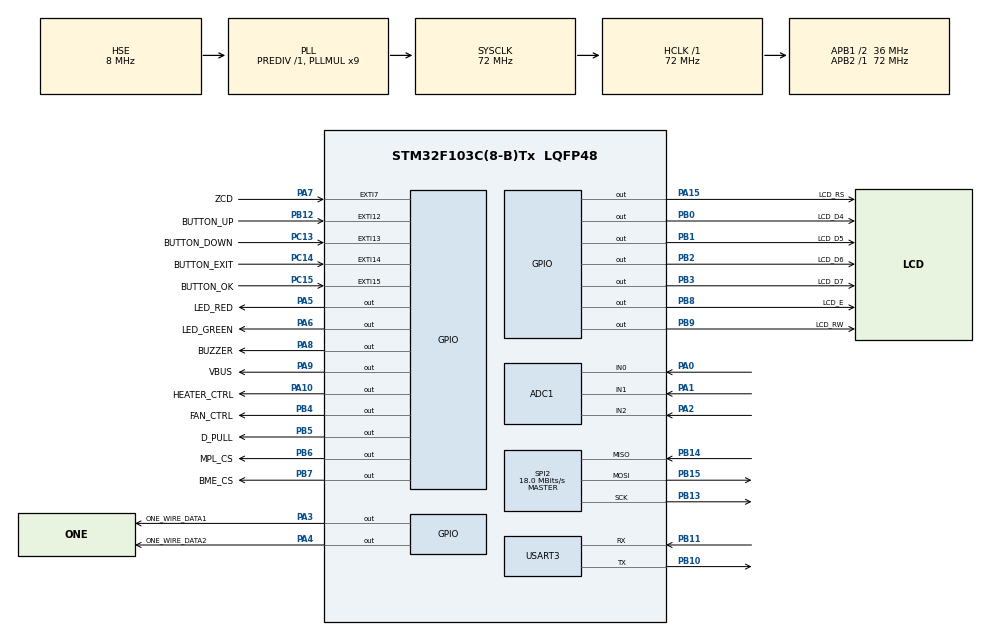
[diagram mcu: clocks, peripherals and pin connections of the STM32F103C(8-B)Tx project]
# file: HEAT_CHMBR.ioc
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ADC1.Channel-0\#ChannelRegularConversion=ADC_CHANNEL_0
ADC1.Channel-1\#ChannelRegularConversion=ADC_CHANNEL_1
ADC1.Channel-2\#ChannelRegularConversion=ADC_CHANNEL_2
ADC1.Channel-3\#ChannelRegularConversion=ADC_CHANNEL_TEMPSENSOR
ADC1.ContinuousConvMode=ENABLE
ADC1.DataAlign=ADC_DATAALIGN_RIGHT
ADC1.NbrOfConversion=4
ADC1.NbrOfConversionFlag=1
ADC1.Rank-0\#ChannelRegularConversion=1
ADC1.Rank-1\#ChannelRegularConversion=2
ADC1.Rank-2\#ChannelRegularConversion=3
ADC1.Rank-3\#ChannelRegularConversion=4
ADC1.SamplingTime-0\#ChannelRegularConversion=ADC_SAMPLETIME_239CYCLES_5
ADC1.SamplingTime-1\#ChannelRegularConversion=ADC_SAMPLETIME_239CYCLES_5
ADC1.SamplingTime-2\#ChannelRegularConversion=ADC_SAMPLETIME_239CYCLES_5
ADC1.SamplingTime-3\#ChannelRegularConversion=ADC_SAMPLETIME_239CYCLES_5
ADC1.master=1
Mcu.Family=STM32F1
Mcu.Name=STM32F103C(8-B)Tx
Mcu.Package=LQFP48
NVIC.ADC1_2_IRQn=true\:0\:0\:false\:false\:true\:true\:true
NVIC.EXTI15_10_IRQn=true\:0\:0\:false\:false\:true\:true\:true
NVIC.EXTI9_5_IRQn=true\:0\:0\:false\:false\:true\:true\:true
NVIC.PriorityGroup=NVIC_PRIORITYGROUP_4
NVIC.TIM1_CC_IRQn=true\:0\:0\:false\:false\:true\:true\:true
NVIC.TIM1_UP_IRQn=true\:0\:0\:false\:false\:true\:true\:true
NVIC.USART3_IRQn=true\:0\:0\:false\:false\:true\:true\:true
PA0-WKUP.Signal=ADCx_IN0
PA1.Signal=ADCx_IN1
PA10.GPIO_Label=HEATER_CTRL
PA10.Signal=GPIO_Output
PA13.Mode=Serial_Wire
PA13.Signal=SYS_JTMS-SWDIO
PA14.Mode=Serial_Wire
PA14.Signal=SYS_JTCK-SWCLK
PA15.GPIO_Label=LCD_RS
PA15.Signal=GPIO_Output
PA2.Signal=ADCx_IN2
PA3.GPIO_Label=ONE_WIRE_DATA1
PA3.Signal=GPIO_Output
PA4.GPIO_Label=ONE_WIRE_DATA2
PA4.Signal=GPIO_Output
PA5.GPIO_Label=LED_RED
PA5.Signal=GPIO_Output
PA6.GPIO_Label=LED_GREEN
PA6.Signal=GPIO_Output
PA7.GPIO_Label=ZCD
PA7.GPIO_ModeDefaultEXTI=GPIO_MODE_IT_RISING_FALLING
PA7.Signal=GPXTI7
PA8.GPIO_Label=BUZZER
PA8.Signal=GPIO_Output
PA9.GPIO_Label=VBUS
PA9.Signal=GPIO_Output
PB0.GPIO_Label=LCD_D4
PB0.Signal=GPIO_Output
PB1.GPIO_Label=LCD_D5
PB1.Signal=GPIO_Output
PB10.Mode=Asynchronous
PB10.Signal=USART3_TX
PB11.Mode=Asynchronous
PB11.Signal=USART3_RX
PB12.GPIO_Label=BUTTON_UP
PB12.GPIO_ModeDefaultEXTI=GPIO_MODE_IT_FALLING
PB12.Signal=GPXTI12
PB13.Mode=Full_Duplex_Master
PB13.Signal=SPI2_SCK
PB14.Mode=Full_Duplex_Master
PB14.Signal=SPI2_MISO
PB15.Mode=Full_Duplex_Master
PB15.Signal=SPI2_MOSI
PB2.GPIO_Label=LCD_D6
PB2.Signal=GPIO_Output
PB3.GPIO_Label=LCD_D7
PB3.Signal=GPIO_Output
PB4.GPIO_Label=FAN_CTRL
PB4.Signal=GPIO_Output
PB5.GPIO_Label=D_PULL
PB5.Signal=GPIO_Output
PB6.GPIO_Label=MPL_CS
PB6.Signal=GPIO_Output
PB7.GPIO_Label=BME_CS
PB7.Signal=GPIO_Output
PB8.GPIO_Label=LCD_E
PB8.Signal=GPIO_Output
PB9.GPIO_Label=LCD_RW
PB9.Signal=GPIO_Output
PC13-TAMPER-RTC.GPIO_Label=BUTTON_DOWN
PC13-TAMPER-RTC.GPIO_ModeDefaultEXTI=GPIO_MODE_IT_FALLING
PC13-TAMPER-RTC.Signal=GPXTI13
PC14-OSC32_IN.GPIO_Label=BUTTON_EXIT
PC14-OSC32_IN.GPIO_ModeDefaultEXTI=GPIO_MODE_IT_FALLING
PC14-OSC32_IN.Signal=GPXTI14
PC15-OSC32_OUT.GPIO_Label=BUTTON_OK
PC15-OSC32_OUT.GPIO_ModeDefaultEXTI=GPIO_MODE_IT_FALLING
PC15-OSC32_OUT.Signal=GPXTI15
PD0-OSC_IN.Mode=HSE-External-Oscillator
PD0-OSC_IN.Signal=RCC_OSC_IN
PD1-OSC_OUT.Mode=HSE-External-Oscillator
PD1-OSC_OUT.Signal=RCC_OSC_OUT
ProjectManager.HeapSize=0x800
ProjectManager.StackSize=0x800
ProjectManager.TargetToolchain=STM32CubeIDE
RCC.ADCPresc=RCC_ADCPCLK2_DIV6
RCC.AHBFreq_Value=72000000
RCC.APB1CLKDivider=RCC_HCLK_DIV2
RCC.APB1Freq_Value=36000000
RCC.APB1TimFreq_Value=72000000
RCC.APB2Freq_Value=72000000
RCC.APB2TimFreq_Value=72000000
RCC.HCLKFreq_Value=72000000
RCC.PLLMUL=RCC_PLL_MUL9
RCC.PLLSourceVirtual=RCC_PLLSOURCE_HSE
RCC.SYSCLKFreq_VALUE=72000000
RCC.SYSCLKSource=RCC_SYSCLKSOURCE_PLLCLK
RCC.USBFreq_Value=72000000
SH.ADCx_IN0.0=ADC1_IN0,IN0
SH.ADCx_IN1.0=ADC1_IN1,IN1
SH.ADCx_IN2.0=ADC1_IN2,IN2
SPI2.CalculateBaudRate=18.0 MBits/s
SPI2.Direction=SPI_DIRECTION_2LINES
SPI2.Mode=SPI_MODE_MASTER
SPI2.VirtualType=VM_MASTER
TIM1.Channel-Output\ Compare1\ No\ Output=TIM_CHANNEL_1
TIM1.Period=9800
TIM1.Prescaler=71
USART3.VirtualMode=VM_ASYNC
VP_ADC1_TempSens_Input.Mode=IN-TempSens
VP_TIM1_VS_ClockSourceINT.Mode=Internal
VP_TIM1_VS_OPM.Mode=OPM_bit
VP_TIM1_VS_no_output1.Mode=Output Compare1 No Output
board=custom

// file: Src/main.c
/* USER CODE BEGIN Header */
/**
  ******************************************************************************
  * @file           : main.c
  * @brief          : Main program body
  ******************************************************************************
  * @attention
  *
  * <h2><center>&copy; Copyright (c) 2020 STMicroelectronics.
  * All rights reserved.</center></h2>
  *
  * This software component is licensed by ST under BSD 3-Clause license,
  * the "License"; You may not use this file except in compliance with the
  * License. You may obtain a copy of the License at:
  *                        opensource.org/licenses/BSD-3-Clause
  *
  ******************************************************************************
  */
/* USER CODE END Header */

#include "main.h"

ADC_HandleTypeDef hadc1;

SPI_HandleTypeDef hspi2;

TIM_HandleTypeDef htim1;

UART_HandleTypeDef huart3;

void SystemClock_Config(void);
static void MX_GPIO_Init(void);
static void MX_ADC1_Init(void);
static void MX_SPI2_Init(void);
static void MX_TIM1_Init(void);
static void MX_USART3_UART_Init(void);

/* USER CODE BEGIN 0 */
uint16_t VirtAddVarTab[] = {23,1234,123};
/* USER CODE END 0 */

int main(void)
{

  /* MCU Configuration--------------------------------------------------------*/

  /* Reset of all peripherals, Initializes the Flash interface and the Systick. */

	HAL_Init();

  /* Configure the system clock */
  SystemClock_Config();

  /* Initialize all configured peripherals */
  MX_GPIO_Init();
  MX_ADC1_Init();
  MX_SPI2_Init();
  MX_TIM1_Init();
  MX_USART3_UART_Init();
  /* USER CODE BEGIN 2 */
  LCD_Initalize();
  ds18b20_initalize(0);
  ntc_init();
  rom_value_init();
  ui_refresh_memory_data();
  ui_populate_with_rom_data();
  tc_init();
  __HAL_TIM_ENABLE_IT(&htim1, TIM_IT_CC1| TIM_IT_CC2);

  //PID_manual_settings();
  //pwmctrl_enable_timer_irq();

  LED_GREEN_GPIO_Port->BSRR = LED_GREEN_Pin;

  /* USER CODE END 2 */

  /* Infinite loop */
  while (1)
  {

    /* USER CODE BEGIN 3 */
	  lcd_circle_bufer_refresh();
	  ui_handler();
	  tc_down_counter();
	  ds18b20_convert_temperature(10);  //duration 5ms [10 - 15]ms read in  10 + 750 ms  = 95ms
	  ds18b20_read_primary_sensor(770); //duration 5ms [835 - 940]ms read in  10 + 750ms  = 95ms
	  ntc_handler(100);

	 // ds18b20_get_scratchpad_temperature(175,0,0);
	  //ds18b20_get_scratchpad_temperature(200,0,1);
  }
  /* USER CODE END 3 */
}

void SystemClock_Config(void)
{
  RCC_OscInitTypeDef RCC_OscInitStruct = {0};
  RCC_ClkInitTypeDef RCC_ClkInitStruct = {0};
  RCC_PeriphCLKInitTypeDef PeriphClkInit = {0};

  /** Initializes the CPU, AHB and APB busses clocks
  */
  RCC_OscInitStruct.OscillatorType = RCC_OSCILLATORTYPE_HSE;
  RCC_OscInitStruct.HSEState = RCC_HSE_ON;
  RCC_OscInitStruct.HSEPredivValue = RCC_HSE_PREDIV_DIV1;
  RCC_OscInitStruct.HSIState = RCC_HSI_ON;
  RCC_OscInitStruct.PLL.PLLState = RCC_PLL_ON;
  RCC_OscInitStruct.PLL.PLLSource = RCC_PLLSOURCE_HSE;
  RCC_OscInitStruct.PLL.PLLMUL = RCC_PLL_MUL9;
  if (HAL_RCC_OscConfig(&RCC_OscInitStruct) != HAL_OK)
  {
    Error_Handler();
  }
  /** Initializes the CPU, AHB and APB busses clocks
  */
  RCC_ClkInitStruct.ClockType = RCC_CLOCKTYPE_HCLK|RCC_CLOCKTYPE_SYSCLK
                              |RCC_CLOCKTYPE_PCLK1|RCC_CLOCKTYPE_PCLK2;
  RCC_ClkInitStruct.SYSCLKSource = RCC_SYSCLKSOURCE_PLLCLK;
  RCC_ClkInitStruct.AHBCLKDivider = RCC_SYSCLK_DIV1;
  RCC_ClkInitStruct.APB1CLKDivider = RCC_HCLK_DIV2;
  RCC_ClkInitStruct.APB2CLKDivider = RCC_HCLK_DIV1;

  if (HAL_RCC_ClockConfig(&RCC_ClkInitStruct, FLASH_LATENCY_2) != HAL_OK)
  {
    Error_Handler();
  }
  PeriphClkInit.PeriphClockSelection = RCC_PERIPHCLK_ADC;
  PeriphClkInit.AdcClockSelection = RCC_ADCPCLK2_DIV6;
  if (HAL_RCCEx_PeriphCLKConfig(&PeriphClkInit) != HAL_OK)
  {
    Error_Handler();
  }
}

static void MX_ADC1_Init(void)
{

  ADC_ChannelConfTypeDef sConfig = {0};

  /** Common config
  */
  hadc1.Instance = ADC1;
  hadc1.Init.ScanConvMode = ADC_SCAN_ENABLE;
  hadc1.Init.ContinuousConvMode = ENABLE;
  hadc1.Init.DiscontinuousConvMode = DISABLE;
  hadc1.Init.ExternalTrigConv = ADC_SOFTWARE_START;
  hadc1.Init.DataAlign = ADC_DATAALIGN_RIGHT;
  hadc1.Init.NbrOfConversion = 4;
  if (HAL_ADC_Init(&hadc1) != HAL_OK)
  {
    Error_Handler();
  }
  /** Configure Regular Channel
  */
  sConfig.Channel = ADC_CHANNEL_0;
  sConfig.Rank = ADC_REGULAR_RANK_1;
  sConfig.SamplingTime = ADC_SAMPLETIME_239CYCLES_5;
  if (HAL_ADC_ConfigChannel(&hadc1, &sConfig) != HAL_OK)
  {
    Error_Handler();
  }
  /** Configure Regular Channel
  */
  sConfig.Channel = ADC_CHANNEL_1;
  sConfig.Rank = ADC_REGULAR_RANK_2;
  if (HAL_ADC_ConfigChannel(&hadc1, &sConfig) != HAL_OK)
  {
    Error_Handler();
  }
  /** Configure Regular Channel
  */
  sConfig.Channel = ADC_CHANNEL_2;
  sConfig.Rank = ADC_REGULAR_RANK_3;
  if (HAL_ADC_ConfigChannel(&hadc1, &sConfig) != HAL_OK)
  {
    Error_Handler();
  }
  /** Configure Regular Channel
  */
  sConfig.Channel = ADC_CHANNEL_TEMPSENSOR;
  sConfig.Rank = ADC_REGULAR_RANK_4;
  if (HAL_ADC_ConfigChannel(&hadc1, &sConfig) != HAL_OK)
  {
    Error_Handler();
  }
  /* USER CODE BEGIN ADC1_Init 2 */
  __HAL_RCC_DMA1_CLK_ENABLE();

  hdma1.Instance = DMA1_Channel1;
  hdma1.Init.Direction = DMA_PERIPH_TO_MEMORY;
  hdma1.Init.PeriphInc = DMA_PINC_DISABLE;
  hdma1.Init.MemInc = DMA_MINC_ENABLE;
  hdma1.Init.PeriphDataAlignment = DMA_PDATAALIGN_HALFWORD;
  hdma1.Init.MemDataAlignment = DMA_MDATAALIGN_HALFWORD;
  hdma1.Init.Mode = DMA_CIRCULAR;
  hdma1.Init.Priority = DMA_PRIORITY_HIGH;

  HAL_ADCEx_Calibration_Start(&hadc1);
  HAL_DMA_Init(&hdma1);
  __HAL_LINKDMA(&hadc1, DMA_Handle, hdma1);

  HAL_ADC_Start_DMA(&hadc1, (uint32_t*)adc_value, ADC_CHANNELS);

  /* USER CODE END ADC1_Init 2 */

}

static void MX_SPI2_Init(void)
{

  /* SPI2 parameter configuration*/
  hspi2.Instance = SPI2;
  hspi2.Init.Mode = SPI_MODE_MASTER;
  hspi2.Init.Direction = SPI_DIRECTION_2LINES;
  hspi2.Init.DataSize = SPI_DATASIZE_8BIT;
  hspi2.Init.CLKPolarity = SPI_POLARITY_LOW;
  hspi2.Init.CLKPhase = SPI_PHASE_1EDGE;
  hspi2.Init.NSS = SPI_NSS_SOFT;
  hspi2.Init.BaudRatePrescaler = SPI_BAUDRATEPRESCALER_2;
  hspi2.Init.FirstBit = SPI_FIRSTBIT_MSB;
  hspi2.Init.TIMode = SPI_TIMODE_DISABLE;
  hspi2.Init.CRCCalculation = SPI_CRCCALCULATION_DISABLE;
  hspi2.Init.CRCPolynomial = 10;
  if (HAL_SPI_Init(&hspi2) != HAL_OK)
  {
    Error_Handler();
  }

}

static void MX_TIM1_Init(void)
{

  TIM_ClockConfigTypeDef sClockSourceConfig = {0};
  TIM_MasterConfigTypeDef sMasterConfig = {0};
  TIM_OC_InitTypeDef sConfigOC = {0};
  TIM_BreakDeadTimeConfigTypeDef sBreakDeadTimeConfig = {0};

  htim1.Instance = TIM1;
  htim1.Init.Prescaler = 71;
  htim1.Init.CounterMode = TIM_COUNTERMODE_UP;
  htim1.Init.Period = 9800;
  htim1.Init.ClockDivision = TIM_CLOCKDIVISION_DIV1;
  htim1.Init.RepetitionCounter = 0;
  htim1.Init.AutoReloadPreload = TIM_AUTORELOAD_PRELOAD_DISABLE;
  if (HAL_TIM_Base_Init(&htim1) != HAL_OK)
  {
    Error_Handler();
  }
  sClockSourceConfig.ClockSource = TIM_CLOCKSOURCE_INTERNAL;
  if (HAL_TIM_ConfigClockSource(&htim1, &sClockSourceConfig) != HAL_OK)
  {
    Error_Handler();
  }
  if (HAL_TIM_OC_Init(&htim1) != HAL_OK)
  {
    Error_Handler();
  }
  if (HAL_TIM_OnePulse_Init(&htim1, TIM_OPMODE_SINGLE) != HAL_OK)
  {
    Error_Handler();
  }
  sMasterConfig.MasterOutputTrigger = TIM_TRGO_RESET;
  sMasterConfig.MasterSlaveMode = TIM_MASTERSLAVEMODE_DISABLE;
  if (HAL_TIMEx_MasterConfigSynchronization(&htim1, &sMasterConfig) != HAL_OK)
  {
    Error_Handler();
  }
  sConfigOC.OCMode = TIM_OCMODE_TIMING;
  sConfigOC.Pulse = 0;
  sConfigOC.OCPolarity = TIM_OCPOLARITY_HIGH;
  sConfigOC.OCNPolarity = TIM_OCNPOLARITY_HIGH;
  sConfigOC.OCFastMode = TIM_OCFAST_DISABLE;
  sConfigOC.OCIdleState = TIM_OCIDLESTATE_RESET;
  sConfigOC.OCNIdleState = TIM_OCNIDLESTATE_RESET;
  if (HAL_TIM_OC_ConfigChannel(&htim1, &sConfigOC, TIM_CHANNEL_1) != HAL_OK)
  {
    Error_Handler();
  }
  sBreakDeadTimeConfig.OffStateRunMode = TIM_OSSR_DISABLE;
  sBreakDeadTimeConfig.OffStateIDLEMode = TIM_OSSI_DISABLE;
  sBreakDeadTimeConfig.LockLevel = TIM_LOCKLEVEL_OFF;
  sBreakDeadTimeConfig.DeadTime = 0;
  sBreakDeadTimeConfig.BreakState = TIM_BREAK_DISABLE;
  sBreakDeadTimeConfig.BreakPolarity = TIM_BREAKPOLARITY_HIGH;
  sBreakDeadTimeConfig.AutomaticOutput = TIM_AUTOMATICOUTPUT_DISABLE;
  if (HAL_TIMEx_ConfigBreakDeadTime(&htim1, &sBreakDeadTimeConfig) != HAL_OK)
  {
    Error_Handler();
  }
  /* USER CODE BEGIN TIM1_Init 2 */
  if (HAL_TIM_OC_ConfigChannel(&htim1, &sConfigOC, TIM_CHANNEL_2) != HAL_OK)
  {
      Error_Handler();
  }
  /* USER CODE END TIM1_Init 2 */

}

static void MX_USART3_UART_Init(void)
{

  huart3.Instance = USART3;
  huart3.Init.BaudRate = 115200;
  huart3.Init.WordLength = UART_WORDLENGTH_8B;
  huart3.Init.StopBits = UART_STOPBITS_1;
  huart3.Init.Parity = UART_PARITY_NONE;
  huart3.Init.Mode = UART_MODE_TX_RX;
  huart3.Init.HwFlowCtl = UART_HWCONTROL_NONE;
  huart3.Init.OverSampling = UART_OVERSAMPLING_16;
  if (HAL_UART_Init(&huart3) != HAL_OK)
  {
    Error_Handler();
  }

}

static void MX_GPIO_Init(void)
{
  GPIO_InitTypeDef GPIO_InitStruct = {0};

  /* GPIO Ports Clock Enable */
  __HAL_RCC_GPIOC_CLK_ENABLE();
  __HAL_RCC_GPIOD_CLK_ENABLE();
  __HAL_RCC_GPIOA_CLK_ENABLE();
  __HAL_RCC_GPIOB_CLK_ENABLE();

  /*Configure GPIO pin Output Level */
  HAL_GPIO_WritePin(GPIOA, ONE_WIRE_DATA1_Pin|ONE_WIRE_DATA2_Pin|LED_RED_Pin|LED_GREEN_Pin
                          |BUZZER_Pin|VBUS_Pin|HEATER_CTRL_Pin|LCD_RS_Pin, GPIO_PIN_RESET);

  /*Configure GPIO pin Output Level */
  HAL_GPIO_WritePin(GPIOB, LCD_D4_Pin|LCD_D5_Pin|LCD_D6_Pin|LCD_D7_Pin
                          |FAN_CTRL_Pin|D_PULL_Pin|MPL_CS_Pin|BME_CS_Pin
                          |LCD_E_Pin|LCD_RW_Pin, GPIO_PIN_RESET);

  /*Configure GPIO pins : BUTTON_DOWN_Pin BUTTON_EXIT_Pin BUTTON_OK_Pin */
  GPIO_InitStruct.Pin = BUTTON_DOWN_Pin|BUTTON_EXIT_Pin|BUTTON_OK_Pin;
  GPIO_InitStruct.Mode = GPIO_MODE_IT_FALLING;
  GPIO_InitStruct.Pull = GPIO_NOPULL;
  HAL_GPIO_Init(GPIOC, &GPIO_InitStruct);

  /*Configure GPIO pins : ONE_WIRE_DATA1_Pin ONE_WIRE_DATA2_Pin LED_RED_Pin LED_GREEN_Pin
                           BUZZER_Pin VBUS_Pin HEATER_CTRL_Pin LCD_RS_Pin */
  GPIO_InitStruct.Pin = ONE_WIRE_DATA1_Pin|ONE_WIRE_DATA2_Pin|LED_RED_Pin|LED_GREEN_Pin
                          |BUZZER_Pin|VBUS_Pin|HEATER_CTRL_Pin|LCD_RS_Pin;
  GPIO_InitStruct.Mode = GPIO_MODE_OUTPUT_PP;
  GPIO_InitStruct.Pull = GPIO_NOPULL;
  GPIO_InitStruct.Speed = GPIO_SPEED_FREQ_LOW;
  HAL_GPIO_Init(GPIOA, &GPIO_InitStruct);

  /*Configure GPIO pin : ZCD_Pin */
  GPIO_InitStruct.Pin = ZCD_Pin;
  GPIO_InitStruct.Mode = GPIO_MODE_IT_RISING_FALLING;
  GPIO_InitStruct.Pull = GPIO_PULLUP;
  HAL_GPIO_Init(ZCD_GPIO_Port, &GPIO_InitStruct);

  /*Configure GPIO pins : LCD_D4_Pin LCD_D5_Pin LCD_D6_Pin LCD_D7_Pin
                           FAN_CTRL_Pin D_PULL_Pin MPL_CS_Pin BME_CS_Pin
                           LCD_E_Pin LCD_RW_Pin */
  GPIO_InitStruct.Pin = LCD_D4_Pin|LCD_D5_Pin|LCD_D6_Pin|LCD_D7_Pin
                          |FAN_CTRL_Pin|D_PULL_Pin|MPL_CS_Pin|BME_CS_Pin
                          |LCD_E_Pin|LCD_RW_Pin;
  GPIO_InitStruct.Mode = GPIO_MODE_OUTPUT_PP;
  GPIO_InitStruct.Pull = GPIO_NOPULL;
  GPIO_InitStruct.Speed = GPIO_SPEED_FREQ_LOW;
  HAL_GPIO_Init(GPIOB, &GPIO_InitStruct);

  /*Configure GPIO pin : BUTTON_UP_Pin */
  GPIO_InitStruct.Pin = BUTTON_UP_Pin;
  GPIO_InitStruct.Mode = GPIO_MODE_IT_FALLING;
  GPIO_InitStruct.Pull = GPIO_NOPULL;
  HAL_GPIO_Init(BUTTON_UP_GPIO_Port, &GPIO_InitStruct);

  /* EXTI interrupt init*/
  HAL_NVIC_SetPriority(EXTI9_5_IRQn, 0, 0);
  HAL_NVIC_EnableIRQ(EXTI9_5_IRQn);

  HAL_NVIC_SetPriority(EXTI15_10_IRQn, 0, 0);
  HAL_NVIC_EnableIRQ(EXTI15_10_IRQn);

}

void Error_Handler(void)
{
}

/************************ (C) COPYRIGHT STMicroelectronics *****END OF FILE****/
